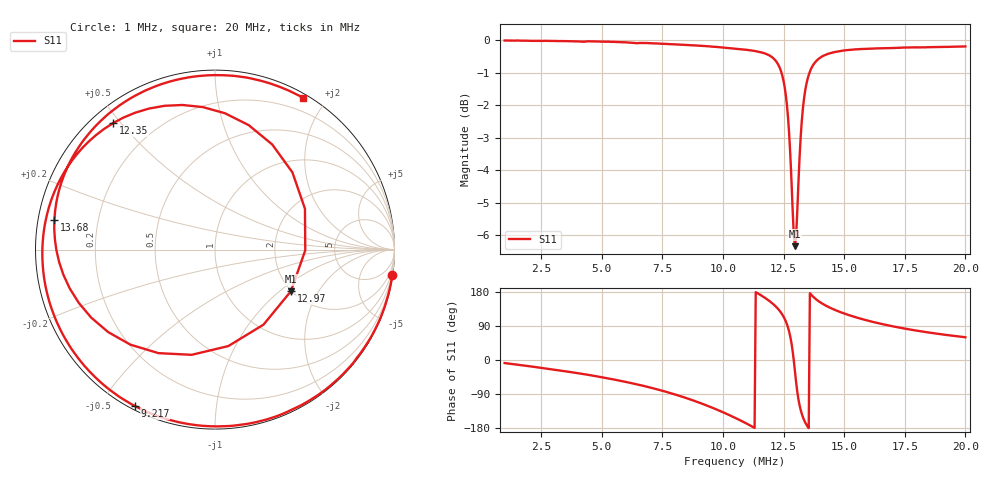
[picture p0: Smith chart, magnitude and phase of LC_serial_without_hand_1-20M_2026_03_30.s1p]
# HZ S RI R 50
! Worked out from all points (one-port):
!   401 points, 1 MHz to 20 MHz, reference 50 ohm
!   lowest |S11| = -6.3 dB at 12.97 MHz (marker M1), VSWR 2.86, Z = 99.2 - j59.9 ohm
!   |S11| at or under -10 dB: nowhere
!   S11 on the Smith chart (normalised r, x): 1 MHz: 0, -14; 9.217 MHz: 0.01, -0.61; 12.35 MHz: 0.06, +0.48; 12.97 MHz: 1.98, -1.20; 13.68 MHz: 0.05, +0.09; 20 MHz: 0.05, +1.73
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1000000  0.9885 -0.1397
3375000  0.875 -0.4762
5750000  0.5754 -0.8092
6937500  0.3121 -0.9385
8125000  -0.0493 -0.9831
9217500  -0.4467 -0.8714
1.05e7  -0.8604 -0.4486
1.11175e7  -0.9562 -0.1258
1.164e7  -0.9352 0.1986
1.20675e7  -0.7956 0.498
1.23525e7  -0.5685 0.7043
1.25425e7  -0.2811 0.8011
1.2685e7  0.0555 0.7597
1.278e7  0.3188 0.5857
1.2875e7  0.5012 0.2279
1.297e7  0.4229 -0.2319
1.3065e7  0.0744 -0.5375
1.316e7  -0.3155 -0.5768
1.3255e7  -0.5954 -0.4595
1.335e7  -0.759 -0.2968
1.34925e7  -0.8687 -0.0685
1.36825e7  -0.8949 0.1664
1.39675e7  -0.844 0.4069
1.43e7  -0.7463 0.59
1.525e7  -0.4434 0.8583
1.6295e7  -0.1485 0.9594
1.7625e7  0.1453 0.9631
2e7  0.4889 0.8466
